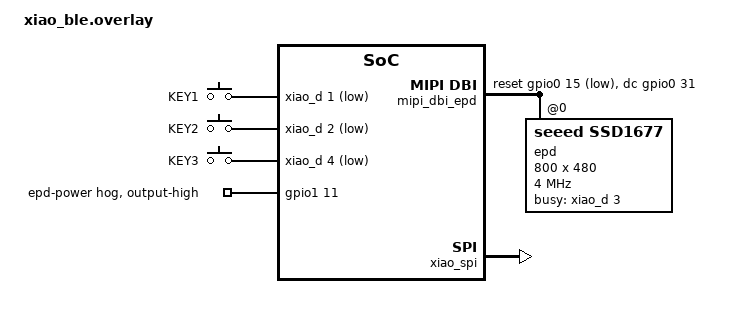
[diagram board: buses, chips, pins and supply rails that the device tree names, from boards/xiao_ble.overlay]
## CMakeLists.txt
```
# SPDX-License-Identifier: Apache-2.0
cmake_minimum_required(VERSION 3.20.0)

# Out-of-tree devicetree binding for the SSD1677 panel (dts/bindings/).
list(APPEND DTS_ROOT ${CMAKE_CURRENT_SOURCE_DIR})

find_package(Zephyr REQUIRED HINTS $ENV{ZEPHYR_BASE})
project(conference_badge)

target_sources(app PRIVATE src/main.c src/ssd1677.c)
target_sources_ifdef(CONFIG_BADGE_REMOTE app PRIVATE src/remote.c)
target_sources_ifdef(CONFIG_BADGE_BLE app PRIVATE src/ble.c)
target_sources_ifdef(CONFIG_BADGE_NFC app PRIVATE src/nfc.c)
```

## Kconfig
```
mainmenu "Conference badge"

config BADGE_AUTO_CYCLE_MS
	int "Advance to the next page automatically every N ms (0 = off)"
	default 0
	help
	  For the simulator, where there are no physical buttons.

config BADGE_TEST_PATTERN
	bool "Show test patterns instead of the badge pages (display debugging)"
	help
	  Pages: all white, all black, orientation marker, vertical stripes.
	  Use KEY1/KEY2 to step through them.

config BADGE_PANEL_VTILED
	bool "Panel driver wants vertical 8-pixel tiles, MONO10 (Zephyr ssd16xx, 2.13\" panel)"
	help
	  Off for the 4.26" SSD1677 panel and the simulator (row-by-row, MONO01).

config BADGE_REMOTE
	bool "Accept pages sent over the console serial port (tools/send_badge.py)"
	default y
	select CRC
	help
	  Fire and forget: the page is drawn and not stored.

config BADGE_BLE
	bool "Accept pages over Bluetooth LE (Nordic UART Service)"
	depends on BT
	help
	  Needs the Bluetooth options in ble.conf (build with -DEXTRA_CONF_FILE=ble.conf).

config BADGE_BLE_PASSKEY
	int "Fixed 6-digit passkey required to connect (0 = open, no security)"
	depends on BADGE_BLE
	default 123456
	range 0 999999
	help
	  CHANGE THIS before using the badge in public: it is public in this repository.
	  With 0 anyone in radio range can overwrite the displayed page (for testing only; also
	  also remove CONFIG_BT_APP_PASSKEY from ble.conf if you want no pairing at all).

config BADGE_NFC
	bool "NFC tap to open: serve the JSON \"nfc_url\" as an NFC tag"
	depends on SOC_SERIES_NRF52
	select NRFX_NFCT
	select NRFX_TIMER
	help
	  Needs "nfc_url" in the JSON file and the NFC antenna on pads P0.09 / P0.10.
	  Build with -DEXTRA_CONF_FILE=nfc.conf (README, section 7).

source "Kconfig.zephyr"
```

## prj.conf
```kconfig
CONFIG_GPIO=y
CONFIG_DISPLAY=y
CONFIG_LOG=y
CONFIG_MAIN_STACK_SIZE=2048
CONFIG_SERIAL=y
```

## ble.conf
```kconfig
# Bluetooth LE remote pages. Build with: -DEXTRA_CONF_FILE=ble.conf
CONFIG_BT=y
CONFIG_BT_PERIPHERAL=y
CONFIG_BT_MAX_CONN=1
CONFIG_BT_DEVICE_NAME="Badge"
CONFIG_BADGE_BLE=y

# Pairing with the fixed passkey CONFIG_BADGE_BLE_PASSKEY, given by the app_passkey() callback.
CONFIG_BT_SMP=y
CONFIG_BT_APP_PASSKEY=y

# Bigger packets: a full frame is 48 KB.
CONFIG_BT_L2CAP_TX_MTU=247
CONFIG_BT_BUF_ACL_RX_SIZE=251
CONFIG_BT_BUF_ACL_TX_SIZE=251
CONFIG_BT_CTLR_DATA_LENGTH_MAX=251

# Long writes (the iPhone sends anything above 20 bytes this way) need prepare buffers:
# 180 bytes in 18-byte pieces = 10, so 16 is enough. Zephyr's default 0 refuses them
# with ATT error 6 "request not supported".
CONFIG_BT_ATT_PREPARE_COUNT=16

# Ask the phone for a bigger ATT packet right after connecting (the iPhone answers 185),
# so that most writes are not long writes at all.
CONFIG_BT_GATT_CLIENT=y
CONFIG_BT_GATT_AUTO_UPDATE_MTU=y
```

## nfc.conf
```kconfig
# NFC "tap to open". Build with: -DEXTRA_CONF_FILE=nfc.conf  (the JSON needs "nfc_url").
# Combine with Bluetooth using a semicolon list: "-DEXTRA_CONF_FILE=ble.conf;nfc.conf"
CONFIG_BADGE_NFC=y
CONFIG_NRFX_NFCT=y
CONFIG_NRFX_TIMER=y
```

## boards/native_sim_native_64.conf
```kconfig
CONFIG_SDL_DISPLAY_DEFAULT_PIXEL_FORMAT_MONO01=y
CONFIG_SDL_DISPLAY_MONO_VTILED=n
CONFIG_SDL_DISPLAY_MONO_MSB_FIRST=y
CONFIG_SDL_DISPLAY_ZOOM_PCT=100
CONFIG_BADGE_AUTO_CYCLE_MS=4000
```

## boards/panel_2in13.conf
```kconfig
CONFIG_BADGE_PANEL_VTILED=y
```

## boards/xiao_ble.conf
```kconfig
# Out-of-tree SSD1677 driver (src/ssd1677.c) talks to the panel through MIPI DBI over SPI.
CONFIG_SPI=y
CONFIG_MIPI_DBI=y
```

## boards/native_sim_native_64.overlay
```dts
/*
 * Simulator: Zephyr's native_sim with its SDL window standing in for the e-paper panel.
 * Same 800x480 monochrome row-major layout as the real SSD1677 (see native_sim_native_64.conf).
 * The gpio-keys sit on gpio_emul; nothing presses them, pages advance via
 * CONFIG_BADGE_AUTO_CYCLE_MS instead.
 */
#include <zephyr/dt-bindings/gpio/gpio.h>
#include <zephyr/dt-bindings/input/input-event-codes.h>

/ {
	aliases {
		sw0 = &key1;
		sw1 = &key2;
		sw2 = &key3;
	};

	keys {
		compatible = "gpio-keys";

		key1: key_1 {
			gpios = <&gpio0 1 GPIO_ACTIVE_HIGH>;
			zephyr,code = <INPUT_KEY_0>;
		};
		key2: key_2 {
			gpios = <&gpio0 2 GPIO_ACTIVE_HIGH>;
			zephyr,code = <INPUT_KEY_1>;
		};
		key3: key_3 {
			gpios = <&gpio0 3 GPIO_ACTIVE_HIGH>;
			zephyr,code = <INPUT_KEY_2>;
		};
	};
};

&sdl_dc {
	width = <800>;
	height = <480>;
};
```

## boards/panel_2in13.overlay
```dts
/*
 * Alternative panel: Seeed 2.13" monochrome 122x250 (GDEY0213B74, SSD1680), used with
 *   west build ... -DEXTRA_DTC_OVERLAY_FILE=boards/panel_2in13.overlay \
 *                  -DEXTRA_CONF_FILE=boards/panel_2in13.conf
 * on top of boards/xiao_ble.overlay (same EN04 pins, keys and panel power).
 *
 * Zephyr's own ssd16xx driver is used, with the values of Zephyr's GDEY0213B74 shield
 * (waveshare_epaper_gdey0213b74): landscape 250x122. The driver exposes 120 of the 122
 * rows, since the vertical 8-pixel tiles need a multiple of 8. Generate the badge with
 * "width": 250, "height": 120 (see badges.2in13.json).
 */

&epd {
	compatible = "solomon,ssd1680";
	/delete-property/ mirror-x;
	width = <250>;
	height = <122>;
	tssv = <0x80>;

	full {
		border-waveform = <0x05>;
	};
};
```

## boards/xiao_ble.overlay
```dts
/*
 * Conference badge: XIAO nRF52840 on a Seeed XIAO ePaper Display Board EN04, with the
 * Seeed 4.26" monochrome 800x480 panel (SSD1677, ref MOB260722009) on the FPC connector.
 * Zephyr has no SSD1677 driver: src/ssd1677.c and dts/bindings/seeed,ssd1677.yaml add one.
 *
 * Pin sources
 *   - Buttons, battery sense:  Seeed wiki, "Getting Started with EN04".
 *   - Display pins:            Seeed_GFX2, src/board/configs/XIAO_ePaper_Board_Configs.h
 *                              (nrfDisplayPins()). Not documented anywhere else.
 *
 *   Signal   XIAO pad  MCU pin  Confidence
 *   CS       D7        P1.12    from library, unambiguous D-name
 *   SCK      D8        P1.13    from library, matches Zephyr xiao_spi (spi3)
 *   MOSI     D10       P1.15    from library, matches Zephyr xiao_spi (spi3)
 *   BUSY     D3        P0.29    from library, unambiguous D-name
 *   PWR_EN   D6        P1.11    from library ("enable" pin, active high)
 *   DC       D16       P0.31    library comment says "D16 (raw GPIO 35)"
 *   RST      D11       P0.15    library comment says "D11 (raw GPIO 30)"
 *
 *   DC and RST are the two to check first if the panel stays blank: confirm
 *   against the EN04 schematic (Seeed wiki, Resources) and swap here if needed.
 *
 * Panel: Seeed_GFX2 drives the 4.26" as SSD1677, 800x480, glass mirrored horizontally.
 */

#include <zephyr/dt-bindings/gpio/gpio.h>
#include <zephyr/dt-bindings/input/input-event-codes.h>

/ {
	chosen {
		zephyr,display = &epd;
	};

	aliases {
		sw0 = &key1;
		sw1 = &key2;
		sw2 = &key3;
	};

	/* EN04 user buttons, active low (wiki: KEY1=D1, KEY2=D2, KEY3=D4). */
	buttons {
		compatible = "gpio-keys";

		key1: key_1 {
			label = "KEY1";
			gpios = <&xiao_d 1 (GPIO_PULL_UP | GPIO_ACTIVE_LOW)>;
			zephyr,code = <INPUT_KEY_0>;
		};

		key2: key_2 {
			label = "KEY2";
			gpios = <&xiao_d 2 (GPIO_PULL_UP | GPIO_ACTIVE_LOW)>;
			zephyr,code = <INPUT_KEY_1>;
		};

		key3: key_3 {
			label = "KEY3";
			gpios = <&xiao_d 4 (GPIO_PULL_UP | GPIO_ACTIVE_LOW)>;
			zephyr,code = <INPUT_KEY_2>;
		};
	};

	mipi_dbi_epd {
		compatible = "zephyr,mipi-dbi-spi";
		spi-dev = <&xiao_spi>;
		dc-gpios = <&gpio0 31 GPIO_ACTIVE_HIGH>;
		reset-gpios = <&gpio0 15 GPIO_ACTIVE_LOW>;
		write-only;
		#address-cells = <1>;
		#size-cells = <0>;

		epd: ssd1677@0 {
			compatible = "seeed,ssd1677"; /* out-of-tree driver: src/ssd1677.c */
			reg = <0>;
			mipi-max-frequency = <4000000>;
			width = <800>;
			height = <480>;
			/* The Seeed 4.26" glass is horizontally mirrored (Seeed_GFX2: mirror = true). */
			mirror-x;
			busy-gpios = <&xiao_d 3 GPIO_ACTIVE_HIGH>;
		};
	};
};

&xiao_spi {
	status = "okay";
	cs-gpios = <&xiao_d 7 GPIO_ACTIVE_LOW>;
};

/*
 * Panel power switch (EN04 "enable" net, D6 = P1.11), held on from early boot,
 * well before the display driver initializes (hog priority 41 vs display 85).
 */
&gpio1 {
	epd_power: epd-power-hog {
		gpio-hog;
		gpios = <11 GPIO_ACTIVE_HIGH>;
		output-high;
		line-name = "epd-power";
	};
};

/*
 * xiao_ble variant: same nRF52840 pins as the Plus board, but DC/RST (P0.31/P0.15,
 * back pads on the Plus module) are addressed as raw gpio0 pins. No vbatt node here.
 *
 * Pins shared with default XIAO peripherals that the EN04 repurposes:
 *   uart0 uses P1.11/P1.12 (D6/D7)  -> panel power / CS
 *   i2c1  uses P0.04/P0.05 (D4/D5)  -> KEY3 / battery-sense enable
 * The EN04 has its own battery divider (A0 = P0.02, enable A5 = P0.05).
 */
&uart0 {
	status = "disabled";
};

&i2c1 {
	status = "disabled";
};
```

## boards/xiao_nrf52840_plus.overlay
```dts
/*
 * Conference badge: XIAO nRF52840 Plus on a Seeed XIAO ePaper Display Board EN04,
 * with a 2.9" monochrome 296x128 panel (SSD1680) on the 24-pin FPC connector.
 *
 * Pin sources
 *   - Buttons, battery sense:  Seeed wiki, "Getting Started with EN04".
 *   - Display pins:            Seeed_GFX2, src/board/configs/XIAO_ePaper_Board_Configs.h
 *                              (nrfDisplayPins()). Not documented anywhere else.
 *
 *   Signal   XIAO pad  MCU pin  Confidence
 *   CS       D7        P1.12    from library, unambiguous D-name
 *   SCK      D8        P1.13    from library, matches Zephyr xiao_spi (spi3)
 *   MOSI     D10       P1.15    from library, matches Zephyr xiao_spi (spi3)
 *   BUSY     D3        P0.29    from library, unambiguous D-name
 *   PWR_EN   D6        P1.11    from library ("enable" pin, active high)
 *   DC       D16       P0.31    library comment says "D16 (raw GPIO 35)"
 *   RST      D11       P0.15    library comment says "D11 (raw GPIO 30)"
 *
 *   DC and RST are the two to check first if the panel stays blank: confirm
 *   against the EN04 schematic (Seeed wiki, Resources) and swap here if needed.
 *
 * Panel: 2.9" mono is driven by Seeed_GFX2 as SSD1680, 296x128. The values below
 * follow Zephyr's own SSD1680 shield overlay (waveshare_epaper_gdey0213b74),
 * with the panel size changed. Border waveform / tssv are carried over, not tuned.
 */

#include <zephyr/dt-bindings/gpio/gpio.h>
#include <zephyr/dt-bindings/input/input-event-codes.h>

/ {
	chosen {
		zephyr,display = &epd;
	};

	aliases {
		sw0 = &key1;
		sw1 = &key2;
		sw2 = &key3;
	};

	/* EN04 user buttons, active low (wiki: KEY1=D1, KEY2=D2, KEY3=D4). */
	buttons {
		compatible = "gpio-keys";

		key1: key_1 {
			label = "KEY1";
			gpios = <&xiao_d 1 (GPIO_PULL_UP | GPIO_ACTIVE_LOW)>;
			zephyr,code = <INPUT_KEY_0>;
		};

		key2: key_2 {
			label = "KEY2";
			gpios = <&xiao_d 2 (GPIO_PULL_UP | GPIO_ACTIVE_LOW)>;
			zephyr,code = <INPUT_KEY_1>;
		};

		key3: key_3 {
			label = "KEY3";
			gpios = <&xiao_d 4 (GPIO_PULL_UP | GPIO_ACTIVE_LOW)>;
			zephyr,code = <INPUT_KEY_2>;
		};
	};

	mipi_dbi_epd {
		compatible = "zephyr,mipi-dbi-spi";
		spi-dev = <&xiao_spi>;
		dc-gpios = <&xiao_plus_d 16 GPIO_ACTIVE_HIGH>;
		reset-gpios = <&xiao_plus_d 11 GPIO_ACTIVE_LOW>;
		write-only;
		#address-cells = <1>;
		#size-cells = <0>;

		epd: ssd1680@0 {
			compatible = "solomon,ssd1680";
			reg = <0>;
			mipi-max-frequency = <4000000>;
			/* Native orientation: 296 gate lines wide, 128 source lines tall. */
			width = <296>;
			height = <128>;
			busy-gpios = <&xiao_d 3 GPIO_ACTIVE_HIGH>;

			tssv = <0x80>;

			/*
			 * Only a "full" profile: no "partial" node means partial refresh
			 * stays disabled, so every update is a full, ghost-free refresh.
			 * That is what a badge wants; speed does not matter.
			 */
			full {
				border-waveform = <0x05>;
			};
		};
	};
};

&xiao_spi {
	status = "okay";
	cs-gpios = <&xiao_d 7 GPIO_ACTIVE_LOW>;
};

/*
 * Panel power switch (EN04 "enable" net, D6 = P1.11), held on from early boot,
 * well before the display driver initializes (hog priority 41 vs display 85).
 */
&gpio1 {
	epd_power: epd-power-hog {
		gpio-hog;
		gpios = <11 GPIO_ACTIVE_HIGH>;
		output-high;
		line-name = "epd-power";
	};
};

/*
 * Pins shared with default XIAO peripherals that the EN04 repurposes:
 *   uart0 uses P1.11/P1.12 (D6/D7)  -> panel power / CS
 *   i2c1  uses P0.04/P0.05 (D4/D5)  -> KEY3 / battery-sense enable
 *   vbatt uses P0.31 (D16)          -> panel DC
 * The EN04 has its own battery divider (A0 = P0.02, enable A5 = P0.05).
 */
&uart0 {
	status = "disabled";
};

&i2c1 {
	status = "disabled";
};

&vbatt {
	status = "disabled";
};
```

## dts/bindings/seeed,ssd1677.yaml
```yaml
# SPDX-License-Identifier: Apache-2.0

description: |
  Solomon Systech SSD1677 e-paper controller, as used on the Seeed 4.26"
  800x480 monochrome panel. Out-of-tree driver: src/ssd1677.c.

compatible: "seeed,ssd1677"

include: [mipi-dbi-spi-device.yaml, display-controller.yaml]

properties:
  busy-gpios:
    type: phandle-array
    required: true
    description: |
      BUSY pin, high while the controller is working. Declare it
      GPIO_ACTIVE_HIGH.

  mirror-x:
    type: boolean
    description: |
      Mirror the image horizontally while loading the RAM. The Seeed 4.26"
      glass is wired mirrored (Seeed_GFX2 sets mirror = true for it): set this
      for that panel. If the badge shows mirrored text, toggle it.
```

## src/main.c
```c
/*
 * Reusable e-paper conference badge (Zephyr).
 *
 * Shows one of several pre-rendered pages (800x480 for the 4.26" panel) (see tools/make_badge.py).
 *   KEY1 = previous page, KEY2 = next page, KEY3 = redraw current page
 *   (a full refresh clears any ghosting).
 *
 * The panel keeps its image with no power, so nothing runs between key presses.
 */

#include <string.h>

#include <zephyr/kernel.h>
#include <zephyr/device.h>
#include <zephyr/devicetree.h>
#include <zephyr/drivers/display.h>
#include <zephyr/drivers/gpio.h>
#include <zephyr/logging/log.h>

#include "badge_images.h"
#if CONFIG_BADGE_NFC
#include "nfc.h"
#endif
#if CONFIG_BADGE_REMOTE
#include "remote.h"
#endif

LOG_MODULE_REGISTER(badge, LOG_LEVEL_INF);

#define DEBOUNCE_MS 60
#define ACTION_REMOTE 100 /* a page was received over serial */

static const struct device *const epd = DEVICE_DT_GET(DT_CHOSEN(zephyr_display));

#if CONFIG_BADGE_PANEL_VTILED
/*
 * Panels driven by Zephyr's ssd16xx driver (2.13") want MONO10 (1 = black) in vertical
 * 8-pixel tiles. The badge bitmaps are row by row with 1 = white, so each frame is
 * converted just before it is sent.
 */
static uint8_t frame_buf[BADGE_WIDTH * BADGE_HEIGHT / 8];

static void convert_frame(const uint8_t *src)
{
	const size_t row_bytes = BADGE_ROW_BYTES;

	memset(frame_buf, 0, sizeof(frame_buf));

	for (size_t y = 0; y < BADGE_HEIGHT; y++) {
		for (size_t x = 0; x < BADGE_WIDTH; x++) {
			bool white = src[y * row_bytes + x / 8] & (0x80 >> (x % 8));

			if (!white) {
				frame_buf[(y / 8) * BADGE_WIDTH + x] |= (uint8_t)(0x80 >> (y % 8));
			}
		}
	}
}
#endif

#if CONFIG_BADGE_REMOTE
/* Holds a page received over serial until it has been drawn. */
static uint8_t remote_buf[BADGE_BUF_SIZE];
#endif

/* Key actions are queued and handled in main(), since a refresh takes seconds. */
K_MSGQ_DEFINE(key_events, sizeof(int), 4, sizeof(int));

#if CONFIG_BADGE_AUTO_CYCLE_MS > 0
/* Simulator: no buttons, so a timer posts "next page" instead. */
static void cycle_expired(struct k_timer *timer)
{
	int action = +1;

	ARG_UNUSED(timer);
	(void)k_msgq_put(&key_events, &action, K_NO_WAIT);
}

K_TIMER_DEFINE(cycle_timer, cycle_expired, NULL);
#endif

struct key {
	struct gpio_dt_spec gpio;
	struct gpio_callback cb;
	struct k_work_delayable debounce;
	int action; /* -1 previous page, +1 next page, 0 redraw */
};

#define KEY_INIT(alias, act) { .gpio = GPIO_DT_SPEC_GET(DT_ALIAS(alias), gpios), .action = (act) }

static struct key keys[] = {
	KEY_INIT(sw0, -1),
	KEY_INIT(sw1, +1),
	KEY_INIT(sw2, 0),
};

static void key_isr(const struct device *port, struct gpio_callback *cb, uint32_t pins)
{
	struct key *k = CONTAINER_OF(cb, struct key, cb);

	ARG_UNUSED(port);
	ARG_UNUSED(pins);
	k_work_reschedule(&k->debounce, K_MSEC(DEBOUNCE_MS));
}

static void key_debounced(struct k_work *work)
{
	struct k_work_delayable *dwork = k_work_delayable_from_work(work);
	struct key *k = CONTAINER_OF(dwork, struct key, debounce);

	/* Still pressed after the debounce delay: it was a real press. */
	if (gpio_pin_get_dt(&k->gpio) > 0) {
		int action = k->action;

		(void)k_msgq_put(&key_events, &action, K_NO_WAIT);
	}
}

static int keys_init(void)
{
	for (size_t i = 0; i < ARRAY_SIZE(keys); i++) {
		struct key *k = &keys[i];
		int err;

		if (!gpio_is_ready_dt(&k->gpio)) {
			LOG_ERR("key %zu: GPIO port not ready", i);
			return -ENODEV;
		}

		err = gpio_pin_configure_dt(&k->gpio, GPIO_INPUT);
		if (err) {
			LOG_ERR("key %zu: configure failed (%d)", i, err);
			return err;
		}

		k_work_init_delayable(&k->debounce, key_debounced);
		gpio_init_callback(&k->cb, key_isr, BIT(k->gpio.pin));

		err = gpio_add_callback(k->gpio.port, &k->cb);
		if (err) {
			LOG_ERR("key %zu: add callback failed (%d)", i, err);
			return err;
		}

		err = gpio_pin_interrupt_configure_dt(&k->gpio, GPIO_INT_EDGE_TO_ACTIVE);
		if (err) {
			LOG_ERR("key %zu: interrupt failed (%d)", i, err);
			return err;
		}
	}

	return 0;
}

static int check_display(void)
{
	struct display_capabilities caps;

	if (!device_is_ready(epd)) {
		LOG_ERR("display %s not ready (check DC/RST/BUSY/CS pins and panel power)",
			epd->name);
		return -ENODEV;
	}

	display_get_capabilities(epd, &caps);

	LOG_INF("display %ux%u, screen_info 0x%x, pixel format 0x%x", caps.x_resolution,
		caps.y_resolution, caps.screen_info, caps.current_pixel_format);

#if CONFIG_BADGE_PANEL_VTILED
	/* ssd16xx: MONO10, vertical tiles, MSB first. */
	bool layout_ok = (caps.screen_info & SCREEN_INFO_MONO_VTILED) &&
			 caps.current_pixel_format == PIXEL_FORMAT_MONO10;
#else
	/* ssd1677 driver and simulator: MONO01, rows, MSB first. */
	bool layout_ok = !(caps.screen_info & SCREEN_INFO_MONO_VTILED) &&
			 caps.current_pixel_format == PIXEL_FORMAT_MONO01;
#endif

	if (caps.x_resolution != BADGE_WIDTH || caps.y_resolution != BADGE_HEIGHT || !layout_ok ||
	    !(caps.screen_info & SCREEN_INFO_MONO_MSB_FIRST)) {
		LOG_ERR("display layout does not match badge images (%dx%d, vtiled=%d, MSB)",
			BADGE_WIDTH, BADGE_HEIGHT, IS_ENABLED(CONFIG_BADGE_PANEL_VTILED));
		return -EINVAL;
	}

	return 0;
}

#if CONFIG_BADGE_TEST_PATTERN
#define NUM_PAGES 4U

static uint8_t pattern_buf[BADGE_BUF_SIZE];

/* Same layout as the badge bitmaps: rows of BADGE_ROW_BYTES bytes, MSB = leftmost pixel, 1 = white. */
static void pattern_pixel(int x, int y, bool black)
{
	if (x < 0 || y < 0 || x >= BADGE_WIDTH || y >= BADGE_HEIGHT) {
		return;
	}

	uint8_t *b = &pattern_buf[y * BADGE_ROW_BYTES + x / 8];
	uint8_t mask = (uint8_t)(0x80 >> (x % 8));

	if (black) {
		*b &= (uint8_t)~mask;
	} else {
		*b |= mask;
	}
}

static const char *make_pattern(size_t idx)
{
	memset(pattern_buf, idx == 1 ? 0x00 : 0xFF, sizeof(pattern_buf));

	if (idx == 2) {
		/* 6 px border, a 40x40 black square in the top-left corner (x=0,y=0),
		 * a 40x16 one at the top-right, and a diagonal: shows orientation and edges. */
		for (int y = 0; y < BADGE_HEIGHT; y++) {
			for (int x = 0; x < BADGE_WIDTH; x++) {
				bool border = x < 6 || y < 6 || x >= BADGE_WIDTH - 6 ||
					      y >= BADGE_HEIGHT - 6;
				bool corner = x < 120 && y < 120;
				bool corner2 = x >= BADGE_WIDTH - 120 && y < 48;
				bool diag = (x * BADGE_HEIGHT / BADGE_WIDTH) == y;

				pattern_pixel(x, y, border || corner || corner2 || diag);
			}
		}
		return "orientation marker";
	}

	if (idx == 3) {
		for (int y = 0; y < BADGE_HEIGHT; y++) {
			for (int x = 0; x < BADGE_WIDTH; x++) {
				pattern_pixel(x, y, (x / 16) % 2 == 0);
			}
		}
		return "vertical stripes 16 px";
	}

	return idx == 0 ? "all white" : "all black";
}
#else
#define NUM_PAGES ((size_t)BADGE_PAGE_COUNT)
#endif

static int draw_frame(const char *page_name, const uint8_t *page_data)
{
	const struct display_buffer_descriptor desc = {
#if CONFIG_BADGE_PANEL_VTILED
		.buf_size = sizeof(frame_buf),
#else
		.buf_size = BADGE_BUF_SIZE,
#endif
		.width = BADGE_WIDTH,
		.height = BADGE_HEIGHT,
		.pitch = BADGE_WIDTH,
	};
	int err;

	LOG_INF("showing %s", page_name);

	/*
	 * Blanking on: nothing to do. display_write() loads the frame into the controller RAM,
	 * display_blanking_off() runs one full refresh and waits for BUSY to clear.
	 */
	(void)display_blanking_on(epd);

#if CONFIG_BADGE_PANEL_VTILED
	convert_frame(page_data);
	page_data = frame_buf;
#endif

	err = display_write(epd, 0, 0, &desc, page_data);
	if (err) {
		LOG_ERR("display_write failed (%d)", err);
	}

	(void)display_blanking_off(epd);

	return err;
}

static int show_page(size_t index)
{
#if CONFIG_BADGE_TEST_PATTERN
	const char *page_name = make_pattern(index);
	const uint8_t *page_data = pattern_buf;
#else
	const char *page_name = badge_pages[index].name;
	const uint8_t *page_data = badge_pages[index].data;
#endif
	char label[64];

	snprintk(label, sizeof(label), "page %zu/%zu: %s", index + 1, (size_t)NUM_PAGES, page_name);

	return draw_frame(label, page_data);
}

int main(void)
{
	size_t page = 0;
	int err;

	err = check_display();
	if (err) {
		return err;
	}

	err = keys_init();
	if (err) {
		return err;
	}

	(void)show_page(page);

#if CONFIG_BADGE_REMOTE
	remote_start(&(const struct remote_cfg){
		.buf = remote_buf,
		.size = sizeof(remote_buf),
		.width = BADGE_WIDTH,
		.height = BADGE_HEIGHT,
		.events = &key_events,
		.action = ACTION_REMOTE,
	});
#endif

#if CONFIG_BADGE_NFC
	(void)nfc_start(); /* the badge works without it; the error is logged */
#endif

#if CONFIG_BADGE_AUTO_CYCLE_MS > 0
	k_timer_start(&cycle_timer, K_MSEC(CONFIG_BADGE_AUTO_CYCLE_MS),
		      K_MSEC(CONFIG_BADGE_AUTO_CYCLE_MS));
#endif

	while (true) {
		int action;

		k_msgq_get(&key_events, &action, K_FOREVER);

#if CONFIG_BADGE_REMOTE
		if (action == ACTION_REMOTE) {
			int derr = draw_frame("remote page", remote_buf);

			/* Purge before releasing the buffer, so a new frame's event is not lost. */
			k_msgq_purge(&key_events);
			remote_shown(derr);
			continue;
		}
#endif

		if (action != 0) {
			page = (size_t)(((int)page + (int)NUM_PAGES + action) % (int)NUM_PAGES);
		}

		(void)show_page(page);

		/* Ignore presses that piled up while the panel was refreshing. */
		k_msgq_purge(&key_events);
	}

	return 0;
}
```

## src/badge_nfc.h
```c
/* Generated by tools/make_badge.py. Do not edit; change the JSON and re-run. */
#ifndef BADGE_NFC_DATA_H_
#define BADGE_NFC_DATA_H_

#include <stdint.h>

/* "tap to open" link; bytes 10..63 of the Type 2 tag memory */
#define BADGE_NFC_URL "https://directory.canonical.com/people/jcverdie"
static const uint8_t badge_nfc_t2t_tail[54] = {
	0xff, 0xff, 0xe1, 0x10, 0x06, 0x0f, 0x03, 0x2c, 0xd1, 0x01, 0x28, 0x55, 0x04, 0x64, 0x69, 0x72,
	0x65, 0x63, 0x74, 0x6f, 0x72, 0x79, 0x2e, 0x63, 0x61, 0x6e, 0x6f, 0x6e, 0x69, 0x63, 0x61, 0x6c,
	0x2e, 0x63, 0x6f, 0x6d, 0x2f, 0x70, 0x65, 0x6f, 0x70, 0x6c, 0x65, 0x2f, 0x6a, 0x63, 0x76, 0x65,
	0x72, 0x64, 0x69, 0x65, 0xfe, 0x00,
};

#endif /* BADGE_NFC_DATA_H_ */
```

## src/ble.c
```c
/*
 * Bluetooth LE transport: a GATT service with the Nordic UART Service UUIDs (so generic
 * "BLE UART" apps and tools/badge_ble.html can find it).
 *
 *   RX characteristic (phone writes):   the same packets as on USB, see remote.h
 *   TX characteristic (badge notifies): reply lines, split in chunks of 20 bytes
 *
 * Zephyr's own bt_nus service (4.4) has no security option, so this file defines the service
 * itself, which lets it demand an authenticated link: with CONFIG_BADGE_BLE_PASSKEY != 0 the
 * phone must pair with that passkey before it may write or subscribe. With 0 the link is open.
 *
 * UNTESTED on hardware when this file was written.
 */

#include <string.h>

#include <zephyr/bluetooth/bluetooth.h>
#include <zephyr/bluetooth/conn.h>
#include <zephyr/bluetooth/gatt.h>
#include <zephyr/bluetooth/uuid.h>
#include <zephyr/kernel.h>
#include <zephyr/logging/log.h>

#include "ble.h"
#include "remote.h"

LOG_MODULE_REGISTER(ble, LOG_LEVEL_INF);

#define LINE_MAX_LEN 96
#define NOTIFY_CHUNK 20 /* fits any ATT MTU */

#define UUID_SVC BT_UUID_128_ENCODE(0x6e400001, 0xb5a3, 0xf393, 0xe0a9, 0xe50e24dcca9e)
#define UUID_RX  BT_UUID_128_ENCODE(0x6e400002, 0xb5a3, 0xf393, 0xe0a9, 0xe50e24dcca9e)
#define UUID_TX  BT_UUID_128_ENCODE(0x6e400003, 0xb5a3, 0xf393, 0xe0a9, 0xe50e24dcca9e)

static const struct bt_uuid_128 svc_uuid = BT_UUID_INIT_128(UUID_SVC);
static const struct bt_uuid_128 rx_uuid = BT_UUID_INIT_128(UUID_RX);
static const struct bt_uuid_128 tx_uuid = BT_UUID_INIT_128(UUID_TX);

#if CONFIG_BADGE_BLE_PASSKEY != 0
#define PERM_WRITE BT_GATT_PERM_WRITE_AUTHEN
#else
#define PERM_WRITE BT_GATT_PERM_WRITE
#endif

static const struct bt_data ad[] = {
	BT_DATA_BYTES(BT_DATA_FLAGS, (BT_LE_AD_GENERAL | BT_LE_AD_NO_BREDR)),
	BT_DATA(BT_DATA_NAME_COMPLETE, CONFIG_BT_DEVICE_NAME, sizeof(CONFIG_BT_DEVICE_NAME) - 1),
};

static const struct bt_data sd[] = {
	BT_DATA_BYTES(BT_DATA_UUID128_ALL, UUID_SVC),
};

struct line {
	char text[LINE_MAX_LEN];
};

K_MSGQ_DEFINE(tx_lines, sizeof(struct line), 6, 4);

static ssize_t rx_write(struct bt_conn *conn, const struct bt_gatt_attr *attr, const void *buf,
			uint16_t len, uint16_t offset, uint8_t flags)
{
	ARG_UNUSED(conn);
	ARG_UNUSED(attr);
	/* A long write (iPhone/Bluefy use it above 20 bytes) first sends the pieces as
	 * "prepare" requests, which are only a check, then calls us again with the same
	 * data in order at "execute" time. Feed the data only once. */
	static uint32_t n_writes;

	if (n_writes < 8 || (n_writes % 200) == 0 || (flags & BT_GATT_WRITE_FLAG_PREPARE)) {
		LOG_INF("BLE write #%u: %u bytes, offset %u, flags 0x%x", n_writes, len, offset, flags);
	}
	n_writes++;
	if (flags & BT_GATT_WRITE_FLAG_PREPARE) {
		return len;
	}

	remote_feed_ble(buf, len);

	return len;
}

static void ccc_changed(const struct bt_gatt_attr *attr, uint16_t value)
{
	ARG_UNUSED(attr);
	LOG_INF("BLE replies %s", value == BT_GATT_CCC_NOTIFY ? "on" : "off");
}

BT_GATT_SERVICE_DEFINE(badge_svc,
	BT_GATT_PRIMARY_SERVICE(&svc_uuid),
	BT_GATT_CHARACTERISTIC(&rx_uuid.uuid,
			       BT_GATT_CHRC_WRITE | BT_GATT_CHRC_WRITE_WITHOUT_RESP,
			       PERM_WRITE, NULL, rx_write, NULL),
	BT_GATT_CHARACTERISTIC(&tx_uuid.uuid, BT_GATT_CHRC_NOTIFY, BT_GATT_PERM_NONE,
			       NULL, NULL, NULL),
	BT_GATT_CCC(ccc_changed, BT_GATT_PERM_READ | PERM_WRITE),
);

static void mtu_updated(struct bt_conn *conn, uint16_t tx, uint16_t rx)
{
	ARG_UNUSED(conn);
	LOG_INF("ATT MTU: tx %u, rx %u", tx, rx);
}

static struct bt_gatt_cb gatt_cb = {.att_mtu_updated = mtu_updated};

static void advertise(void)
{
	int err = bt_le_adv_start(BT_LE_ADV_CONN_FAST_1, ad, ARRAY_SIZE(ad), sd, ARRAY_SIZE(sd));

	if (err) {
		LOG_ERR("advertising failed (%d)", err);
	} else {
		LOG_INF("advertising as \"%s\"", CONFIG_BT_DEVICE_NAME);
	}
}

static void on_connected(struct bt_conn *conn, uint8_t err)
{
	ARG_UNUSED(conn);

	if (err) {
		LOG_ERR("connection failed (0x%02x)", err);
		advertise();
		return;
	}
	LOG_INF("BLE connected");
}

static void on_disconnected(struct bt_conn *conn, uint8_t reason)
{
	ARG_UNUSED(conn);
	LOG_INF("BLE disconnected (0x%02x)", reason);
	advertise();
}

BT_CONN_CB_DEFINE(conn_cbs) = {
	.connected = on_connected,
	.disconnected = on_disconnected,
};

#if CONFIG_BADGE_BLE_PASSKEY != 0
/* Providing this callback gives the badge the "display" capability: the phone asks the user to
 * type this passkey. */
static uint32_t app_passkey(struct bt_conn *conn)
{
	ARG_UNUSED(conn);

	return CONFIG_BADGE_BLE_PASSKEY;
}

static void pairing_cancel(struct bt_conn *conn)
{
	ARG_UNUSED(conn);
	LOG_WRN("pairing cancelled");
}

static struct bt_conn_auth_cb auth_cbs = {
	.app_passkey = app_passkey,
	.cancel = pairing_cancel,
};
#endif

/* Replies are sent from here, never from the BLE stack's own thread. */
static void tx_thread(void *a, void *b, void *c)
{
	struct line l;

	ARG_UNUSED(a);
	ARG_UNUSED(b);
	ARG_UNUSED(c);

	while (true) {
		char out[LINE_MAX_LEN + 2];
		size_t n;

		k_msgq_get(&tx_lines, &l, K_FOREVER);
		n = (size_t)snprintk(out, sizeof(out), "%s\n", l.text);

		for (size_t off = 0; off < n; off += NOTIFY_CHUNK) {
			size_t part = MIN((size_t)NOTIFY_CHUNK, n - off);
			int err = bt_gatt_notify_uuid(NULL, &tx_uuid.uuid, badge_svc.attrs,
						      out + off, (uint16_t)part);

			if (err) { /* not connected / not subscribed: nobody is listening */
				break;
			}
		}
	}
}

K_THREAD_STACK_DEFINE(tx_stack, 1024);
static struct k_thread tx_thread_data;

void ble_send_line(const char *line)
{
	struct line l;

	strncpy(l.text, line, sizeof(l.text) - 1);
	l.text[sizeof(l.text) - 1] = '\0';
	(void)k_msgq_put(&tx_lines, &l, K_NO_WAIT);
}

int ble_start(void)
{
	int err;

#if CONFIG_BADGE_BLE_PASSKEY != 0
	err = bt_conn_auth_cb_register(&auth_cbs);
	if (err) {
		LOG_ERR("auth callbacks failed (%d)", err);
		return err;
	}
#else
	LOG_WRN("BLE is OPEN: anyone nearby can send a page (set CONFIG_BADGE_BLE_PASSKEY)");
#endif

	err = bt_enable(NULL);
	if (err) {
		LOG_ERR("bt_enable failed (%d)", err);
		return err;
	}

	bt_gatt_cb_register(&gatt_cb);

	k_thread_create(&tx_thread_data, tx_stack, K_THREAD_STACK_SIZEOF(tx_stack), tx_thread, NULL,
			NULL, NULL, K_PRIO_PREEMPT(9), 0, K_NO_WAIT);
	k_thread_name_set(&tx_thread_data, "ble_tx");

	advertise();

	return 0;
}
```

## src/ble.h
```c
/* Bluetooth LE transport for remote pages: Nordic UART Service (NUS). See remote.h. */
#ifndef BLE_H_
#define BLE_H_

/* Enable Bluetooth and start advertising. Returns 0 or a negative errno. */
int ble_start(void);

/* Queue one reply line for the subscribed peers (never blocks, drops if the queue is full). */
void ble_send_line(const char *line);

#endif /* BLE_H_ */
```

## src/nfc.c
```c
/*
 * NFC Type 2 tag with one NDEF URL record, on the nRF52840 NFCT peripheral (nrfx driver).
 *
 * The hardware answers the anticollision and selection steps by itself. We answer the
 * Type 2 commands: READ (0x30) returns 16 bytes of the 64-byte tag memory, HALT (0x50)
 * puts the tag to sleep, everything else (WRITE, ...) gets a NACK, so the tag is read only.
 *
 * Tag memory (64 bytes): 0-9 UID and check bytes (built here from the chip's NFC ID),
 * 10-63 come from the generated header (lock bytes, capability container, NDEF message).
 */
#include <errno.h>
#include <string.h>

#include <zephyr/devicetree.h>
#include <zephyr/irq.h>
#include <zephyr/kernel.h>
#include <zephyr/logging/log.h>

#include <nrfx.h>
#include <nrfx_nfct.h>

#include "badge_nfc.h"
#include "nfc.h"

LOG_MODULE_REGISTER(nfc, LOG_LEVEL_INF);

#ifndef BADGE_NFC_URL
#error "CONFIG_BADGE_NFC needs an \"nfc_url\" in the JSON file: add it and run tools/make_badge.py again"
#endif

#define T2T_MEM_SIZE 64
#define T2T_READ     0x30
#define T2T_HALT     0x50
#define NFC_CRC_SIZE 2
#define NFC_READ_LEN 16

static uint8_t mem[T2T_MEM_SIZE];
static uint8_t rx_buf[16];
static uint8_t tx_buf[NFC_READ_LEN];
static const uint8_t nack_not_acked; /* 4-bit NACK 0x0: invalid argument */

static const nrfx_nfct_data_desc_t rx_desc = {
	.data_size = sizeof(rx_buf),
	.p_data = rx_buf,
};

static void rearm_rx(void)
{
	(void)nrfx_nfct_rx(&rx_desc);
}

static void send_nack(void)
{
	const nrfx_nfct_data_desc_t d = {.data_size = 4, .p_data = &nack_not_acked}; /* bits */

	if (nrfx_nfct_bits_tx(&d, NRF_NFCT_FRAME_DELAY_MODE_WINDOWGRID) != 0) {
		rearm_rx();
	}
}

static void handle_frame(const uint8_t *data, uint32_t size)
{
	if (size < NFC_CRC_SIZE + 1) {
		rearm_rx();
		return;
	}
	size -= NFC_CRC_SIZE; /* the hardware checks and strips nothing: CRC bytes are at the end */

	switch (data[0]) {
	case T2T_READ:
		if (size != 2) {
			send_nack();
			return;
		}
		for (int i = 0; i < NFC_READ_LEN; i++) {
			/* page n is bytes 4n..4n+3; reads past the end wrap around (Type 2 rule) */
			tx_buf[i] = mem[(data[1] * 4 + i) % T2T_MEM_SIZE];
		}
		{
			const nrfx_nfct_data_desc_t d = {.data_size = NFC_READ_LEN, .p_data = tx_buf};

			if (nrfx_nfct_tx(&d, NRF_NFCT_FRAME_DELAY_MODE_WINDOWGRID) != 0) {
				rearm_rx();
			}
		}
		break;
	case T2T_HALT:
		nrfx_nfct_init_substate_force(NRFX_NFCT_ACTIVE_STATE_SLEEP);
		rearm_rx();
		break;
	default:
		send_nack(); /* WRITE and the rest: the tag is read only */
		break;
	}
}

/* Runs in interrupt context: keep it short. */
static void nfct_handler(nrfx_nfct_evt_t const *ev)
{
	switch (ev->evt_id) {
	case NRFX_NFCT_EVT_FIELD_DETECTED:
		nrfx_nfct_state_force(NRFX_NFCT_STATE_ACTIVATED);
		break;
	case NRFX_NFCT_EVT_FIELD_LOST:
		nrfx_nfct_state_force(NRFX_NFCT_STATE_SENSING);
		break;
	case NRFX_NFCT_EVT_SELECTED:
		rearm_rx();
		break;
	case NRFX_NFCT_EVT_RX_FRAMEEND:
		if (ev->params.rx_frameend.rx_status != 0) {
			rearm_rx(); /* CRC or parity error: ignore the frame */
		} else {
			handle_frame(ev->params.rx_frameend.rx_data.p_data,
				     ev->params.rx_frameend.rx_data.data_size);
		}
		break;
	case NRFX_NFCT_EVT_TX_FRAMEEND:
		rearm_rx();
		break;
	default:
		break;
	}
}

static void build_memory(void)
{
	uint8_t id[NRFX_NFCT_NFCID1_DOUBLE_SIZE];

	nrfx_nfct_nfcid1_default_bytes_get(id, sizeof(id));

	/* Type 2 internal bytes for a 7-byte UID: UID0-2, BCC0, UID3-6, BCC1, internal. */
	mem[0] = id[0];
	mem[1] = id[1];
	mem[2] = id[2];
	mem[3] = 0x88 ^ id[0] ^ id[1] ^ id[2];
	mem[4] = id[3];
	mem[5] = id[4];
	mem[6] = id[5];
	mem[7] = id[6];
	mem[8] = id[3] ^ id[4] ^ id[5] ^ id[6];
	mem[9] = 0x00;

	BUILD_ASSERT(sizeof(badge_nfc_t2t_tail) == T2T_MEM_SIZE - 10, "tag image has the wrong size");
	memcpy(&mem[10], badge_nfc_t2t_tail, sizeof(badge_nfc_t2t_tail));
}

/* The nrfx NFCT driver uses a TIMER for a silicon workaround (errata 79/190) and asks the
 * application to call nrfx_nfct_workaround_timer_handler() from that timer's interrupt. */
#ifdef NRFX_NFCT_CONFIG_TIMER_INSTANCE_ID
#define NFC_TIMER_IRQN    NRFX_CONCAT(NRFX_CONCAT(TIMER, NRFX_NFCT_CONFIG_TIMER_INSTANCE_ID), _IRQn)
#define NFC_TIMER_HANDLER nrfx_nfct_workaround_timer_handler /* the driver owns that timer instance */
#endif

int nfc_start(void)
{
	int err;
	const nrfx_nfct_config_t cfg = {
		.rxtx_int_mask = NRFX_NFCT_EVT_RX_FRAMEEND | NRFX_NFCT_EVT_TX_FRAMEEND,
		.cb = nfct_handler,
		.irq_priority = DT_IRQ(DT_NODELABEL(nfct), priority),
	};

	IRQ_CONNECT(DT_IRQN(DT_NODELABEL(nfct)), DT_IRQ(DT_NODELABEL(nfct), priority), nrfx_isr,
		    nrfx_nfct_irq_handler, 0);
#ifdef NFC_TIMER_IRQN
	IRQ_CONNECT(NFC_TIMER_IRQN, DT_IRQ(DT_NODELABEL(nfct), priority), nrfx_isr,
		    NFC_TIMER_HANDLER, 0);
#endif

	build_memory();

	err = nrfx_nfct_init(&cfg);
	if (err) {
		/* -EPERM: the NFC pins are set up as normal GPIO (UICR), see README */
		LOG_ERR("NFC init failed (%d)", err);
		return err;
	}

	nrfx_nfct_enable();
	LOG_INF("NFC tag ready: %s", BADGE_NFC_URL);
	return 0;
}
```

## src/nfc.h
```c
/* NFC "tap to open": the badge acts as a Type 2 tag holding one URL. */
#ifndef BADGE_NFC_H_
#define BADGE_NFC_H_

/* Returns 0 on success, a negative errno otherwise (the badge works without NFC). */
int nfc_start(void);

#endif /* BADGE_NFC_H_ */
```

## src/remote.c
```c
/* See remote.h. UNTESTED on hardware when this file was written. */

#include <string.h>

#include <zephyr/device.h>
#include <zephyr/drivers/uart.h>
#include <zephyr/kernel.h>
#include <zephyr/logging/log.h>
#include <zephyr/sys/atomic.h>
#include <zephyr/sys/crc.h>
#include <zephyr/sys/printk.h>

#include "remote.h"
#if CONFIG_BADGE_BLE
#include "ble.h"
#endif

LOG_MODULE_REGISTER(remote, LOG_LEVEL_INF);

#define RX_TIMEOUT_MS 2000 /* a frame must keep flowing: no byte for this long aborts it */

static const struct device *const uart = DEVICE_DT_GET(DT_CHOSEN(zephyr_console));
static struct remote_cfg cfg;
static atomic_t busy; /* 1 from "frame committed" until remote_shown() */

K_THREAD_STACK_DEFINE(rx_stack, 2048);
static struct k_thread rx_thread_data;

enum rx_state { ST_SYNC, ST_CMD, ST_LEN, ST_PAYLOAD, ST_CRC };

static const char magic[4] = {'B', 'D', 'G', '1'};

/* Replies go to the serial console and, when Bluetooth is on, to subscribed BLE peers. */
static void emit(const char *line)
{
	printk("\n%s\n", line); /* leading newline: keeps the line intact after a cut-off log line */
#if CONFIG_BADGE_BLE
	ble_send_line(line);
#endif
}

static void reply(const char *what, const char *text)
{
	char line[96];

	snprintk(line, sizeof(line), "BADGE %s %s", what, text);
	emit(line);
}

static void reply_info(void)
{
	char line[96];

	snprintk(line, sizeof(line), "BADGE OK info %ux%u row=%u size=%u", cfg.width, cfg.height,
		 (unsigned int)((cfg.width + 7) / 8), (unsigned int)cfg.size);
	emit(line);
}

static uint32_t le32(const uint8_t *p)
{
	return (uint32_t)p[0] | ((uint32_t)p[1] << 8) | ((uint32_t)p[2] << 16) |
	       ((uint32_t)p[3] << 24);
}

struct parser {
	enum rx_state st;
	uint8_t cmd;
	uint8_t hdr[4];
	size_t pos;
	size_t sync;
	uint32_t len;
	bool skip; /* consume the payload without storing it */
	const char *deferred_err;
	int64_t last_byte;
};

static struct parser uart_parser, ble_parser;

static void parser_timeout(struct parser *p)
{
	if (p->st != ST_SYNC && k_uptime_get() - p->last_byte > RX_TIMEOUT_MS) {
		reply("ERR", "timeout");
		p->st = ST_SYNC;
		p->sync = 0;
	}
}

static void parse_byte(struct parser *p, uint8_t ch)
{
	p->last_byte = k_uptime_get();

	switch (p->st) {
	case ST_SYNC:
		if (ch == magic[p->sync]) {
			p->sync++;
		} else {
			p->sync = (ch == magic[0]) ? 1 : 0;
		}
		if (p->sync == sizeof(magic)) {
			p->st = ST_CMD;
			p->sync = 0;
		}
		break;

	case ST_CMD:
		p->cmd = ch;
		p->pos = 0;
		p->st = ST_LEN;
		break;

	case ST_LEN:
		p->hdr[p->pos++] = ch;
		if (p->pos < 4) {
			break;
		}
		p->len = le32(p->hdr);
		p->pos = 0;
		p->skip = false;
		p->deferred_err = NULL;
		if (p->cmd == 'I' && p->len == 0) {
			p->st = ST_CRC;
		} else if (p->cmd == 'F' && p->len == cfg.size) {
			if (atomic_get(&busy)) {
				p->skip = true;
				p->deferred_err = "busy (previous frame still refreshing)";
			}
			p->st = ST_PAYLOAD;
		} else if (p->len <= cfg.size) {
			p->skip = true; /* unknown command or wrong size: swallow it, then report */
			p->deferred_err = (p->cmd == 'F') ? "wrong frame size (use INFO to get it)"
							  : "unknown command";
			p->st = p->len ? ST_PAYLOAD : ST_CRC;
		} else {
			reply("ERR", "length too large");
			p->st = ST_SYNC;
		}
		break;

	case ST_PAYLOAD:
		if (!p->skip) {
			cfg.buf[p->pos] = ch;
		}
		if (++p->pos == p->len) {
			p->pos = 0;
			p->st = ST_CRC;
		}
		break;

	case ST_CRC:
		p->hdr[p->pos++] = ch;
		if (p->pos < 4) {
			break;
		}
		p->pos = 0;
		p->st = ST_SYNC;

		if (p->deferred_err) {
			reply("ERR", p->deferred_err);
		} else if (p->cmd == 'I') {
			reply_info();
		} else if (crc32_ieee(cfg.buf, cfg.size) != le32(p->hdr)) {
			reply("ERR", "bad CRC (resend)");
		} else {
			int action = cfg.action;

			atomic_set(&busy, 1);
			reply("OK", "received");
			if (k_msgq_put(cfg.events, &action, K_NO_WAIT) != 0) {
				atomic_set(&busy, 0);
				reply("ERR", "badge busy, try again");
			}
		}
		break;
	}
}

/* Bluetooth: called from the BLE stack with each GATT write (see ble.c). */
void remote_feed_ble(const uint8_t *data, size_t len)
{
	parser_timeout(&ble_parser);

	for (size_t i = 0; i < len; i++) {
		parse_byte(&ble_parser, data[i]);
	}
}

static void rx_thread(void *a, void *b, void *c)
{
	ARG_UNUSED(a);
	ARG_UNUSED(b);
	ARG_UNUSED(c);

	uart_parser.last_byte = k_uptime_get();

	while (true) {
		unsigned char ch;

		if (uart_poll_in(uart, &ch) != 0) {
			parser_timeout(&uart_parser);
			k_msleep(1);
			continue;
		}
		parse_byte(&uart_parser, ch);
	}
}

void remote_shown(int err)
{
	if (err) {
		reply("ERR", "display refresh failed");
	} else {
		reply("OK", "shown");
	}
	atomic_set(&busy, 0);
}

void remote_start(const struct remote_cfg *c)
{
	cfg = *c;

#if CONFIG_BADGE_BLE
	ble_start();
#endif

	if (!device_is_ready(uart)) {
		LOG_ERR("console UART not ready, serial remote pages disabled");
		return;
	}

	k_thread_create(&rx_thread_data, rx_stack, K_THREAD_STACK_SIZEOF(rx_stack), rx_thread,
			NULL, NULL, NULL, K_PRIO_PREEMPT(8), 0, K_NO_WAIT);
	k_thread_name_set(&rx_thread_data, "remote_rx");
	LOG_INF("remote pages: send a frame over the serial port (tools/send_badge.py)");
}
```

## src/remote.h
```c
/*
 * "Fire and forget" remote pages: a host sends one frame over the console serial port
 * (USB CDC on the board, a pseudo-terminal in the simulator) or over Bluetooth LE (Nordic UART
 * Service, see ble.c); the badge shows it. Same packets on both.
 * Nothing is stored: the page stays on the e-paper (which keeps it without power) until
 * a key is pressed. Host side: tools/send_badge.py.
 *
 * Protocol (host to badge, all integers little endian):
 *   "BDG1" | cmd (1 byte) | payload length (u32) | payload | CRC32 of payload (u32)
 *   cmd 'I' (info, empty payload): reply "BADGE OK info <w>x<h> row=<bytes> size=<bytes>"
 *   cmd 'F' (frame): payload = one full page, row by row, MSB = leftmost pixel, 1 = white,
 *           (width + 7) / 8 bytes per row: the same bytes as a page in badge_images.h.
 *           replies "BADGE OK received", then "BADGE OK shown" once the panel has refreshed.
 * Errors: "BADGE ERR <reason>". Replies are text lines, mixed with the normal log output.
 */
#ifndef REMOTE_H_
#define REMOTE_H_

#include <stddef.h>
#include <stdint.h>

#include <zephyr/kernel.h>

struct remote_cfg {
	uint8_t *buf;          /* frame buffer, size bytes, owned by the caller */
	size_t size;           /* bytes in one frame */
	uint16_t width;
	uint16_t height;
	struct k_msgq *events; /* receives an int: `action` when a frame is ready */
	int action;
};

/* Start the receiver thread. */
void remote_start(const struct remote_cfg *cfg);

/* Feed bytes received over Bluetooth (called by ble.c). One sender at a time, USB or BLE. */
void remote_feed_ble(const uint8_t *data, size_t len);

/* Call once the frame in cfg->buf has been drawn (err = display result): releases the buffer. */
void remote_shown(int err);

#endif /* REMOTE_H_ */
```
